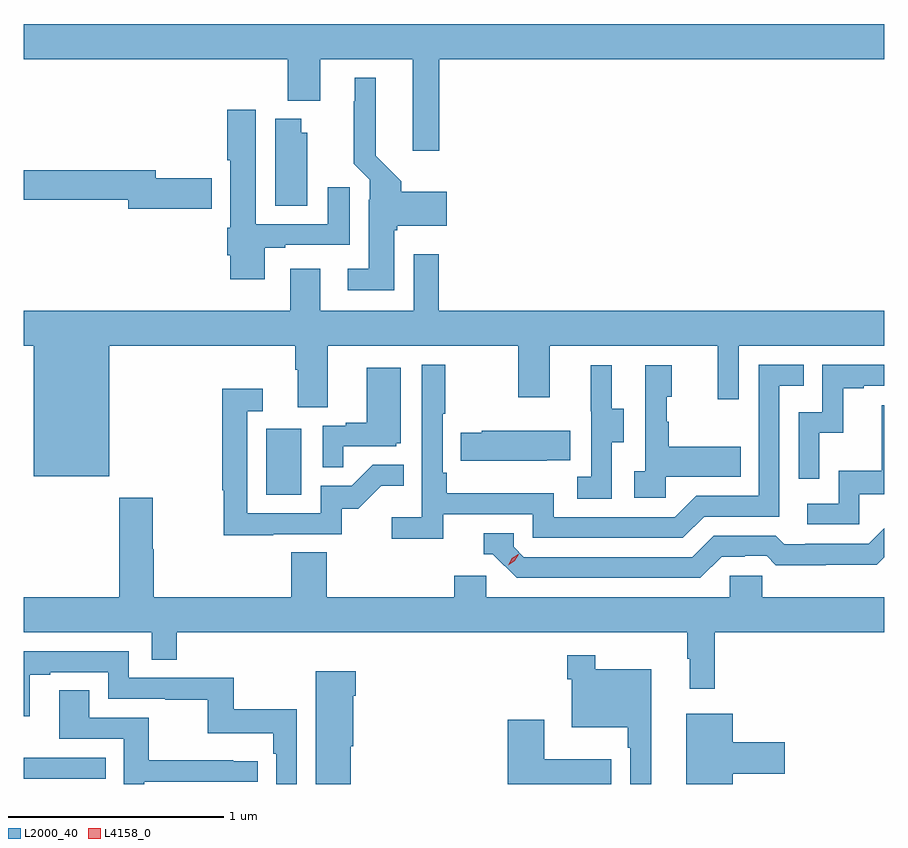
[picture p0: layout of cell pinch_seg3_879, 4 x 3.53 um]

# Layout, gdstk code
import gdstk
lib = gdstk.Library(unit=1e-6, precision=1e-09)
def R(c, l, rs):  # rectangles x0, y0, x1, y1
    for r in rs: c.add(gdstk.rectangle(r[:2], r[2:], *l))
def P(c, l, *ps):  # polygons
    for p in ps: c.add(gdstk.Polygon(p, *l))
L2000_40 = (2000, 40)
L4158_0 = (4158, 0)

pinch_seg3_879 = lib.new_cell('pinch_seg3_879')
R(pinch_seg3_879, L2000_40, [(884.805,700.236,885.185,700.332), (885.932,701.556,886.096,701.863)])
P(pinch_seg3_879, L2000_40, [(886.736,703.58),(888.805,703.58),(888.805,703.744),(884.805,703.744),(884.805,703.58),(886.031,703.58),(886.031,703.388),(886.183,703.388),(886.183,703.58),(886.613,703.58),(886.613,703.155),(886.736,703.155)],
  [(886.528,702.786),(886.542,702.786),(886.542,702.806),(886.771,702.806),(886.771,702.964),(886.559,702.964),(886.559,703.014),(886.441,703.132),(886.441,703.495),(886.343,703.495),(886.343,703.385),(886.339,703.385),(886.339,703.094),(886.413,703.02),(886.413,702.926),(886.409,702.926),(886.409,702.607),(886.311,702.607),(886.311,702.506),(886.528,702.506)],
  [(885.925,702.705),(886.021,702.705),(886.021,702.717),(886.321,702.717),(886.321,702.985),(886.217,702.985),(886.217,702.813),(885.883,702.813),(885.883,703.345),(885.752,703.345),(885.752,703.111),(885.764,703.111),(885.764,702.797),(885.752,702.797),(885.752,702.67),(885.764,702.67),(885.764,702.558),(885.925,702.558)],
  [(886.123,703.239),(886.096,703.239),(886.096,703.303),(885.974,703.303),(885.974,702.898),(886.123,702.898)],
  [(885.679,703.028),(885.418,703.028),(885.418,703.064),(884.805,703.064),(884.805,702.928),(885.29,702.928),(885.29,702.886),(885.679,702.886)],
  [(885.202,702.248),(886.067,702.248),(886.067,702.136),(886.079,702.136),(886.079,701.962),(886.219,701.962),(886.219,702.248),(887.104,702.248),(887.104,702.009),(887.251,702.009),(887.251,702.248),(888.032,702.248),(888.032,702),(888.129,702),(888.129,702.248),(888.805,702.248),(888.805,702.412),(886.733,702.412),(886.733,702.673),(886.617,702.673),(886.617,702.412),(886.183,702.412),(886.183,702.607),(886.043,702.607),(886.043,702.412),(884.805,702.412),(884.805,702.248),(884.852,702.248),(884.852,701.642),(885.202,701.642)],
  [(886.754,701.466),(887.172,701.466),(887.172,701.355),(887.869,701.355),(887.968,701.454),(888.318,701.454),(888.318,702.063),(888.431,702.063),(888.431,702.159),(888.222,702.159),(888.222,701.55),(887.931,701.55),(887.832,701.451),(887.268,701.451),(887.268,701.563),(886.772,701.563),(886.772,701.659),(886.752,701.659),(886.752,701.932),(886.765,701.932),(886.765,702.16),(886.656,702.16),(886.656,701.452),(886.515,701.452),(886.515,701.35),(886.754,701.35)],
  [(888.504,701.843),(888.614,701.843),(888.614,702.051),(888.709,702.051),(888.709,702.063),(888.805,702.063),(888.805,702.159),(888.516,702.159),(888.516,701.94),(888.408,701.94),(888.408,701.631),(888.504,701.631)],
  [(887.538,701.8),(887.593,701.8),(887.593,701.955),(887.539,701.955),(887.539,702.157),(887.441,702.157),(887.441,701.943),(887.442,701.943),(887.442,701.639),(887.379,701.639),(887.379,701.536),(887.538,701.536)],
  [(887.79,701.639),(888.137,701.639),(888.137,701.779),(887.803,701.779),(887.803,701.894),(887.793,701.894),(887.793,702.012),(887.818,702.012),(887.818,702.157),(887.694,702.157),(887.694,701.666),(887.643,701.666),(887.643,701.541),(887.79,701.541)],
  [(886.289,701.781),(886.536,701.781),(886.536,701.796),(886.558,701.796),(886.558,702.145),(886.4,702.145),(886.4,701.89),(886.301,701.89),(886.301,701.877),(886.194,701.877),(886.194,701.683),(886.289,701.683)],
  [(885.965,701.373),(886.284,701.373),(886.284,701.49),(886.36,701.49),(886.467,701.597),(886.571,701.597),(886.571,701.696),(886.427,701.696),(886.329,701.598),(886.185,701.598),(886.185,701.469),(885.843,701.469),(885.843,701.943),(885.916,701.943),(885.916,702.049),(885.727,702.049),(885.727,701.576),(885.735,701.576),(885.735,701.368),(885.965,701.368)],
  [(888.69,701.559),(888.805,701.559),(888.805,701.971),(888.793,701.971),(888.793,701.668),(888.594,701.668),(888.594,701.514),(888.447,701.514),(888.447,701.418),(888.69,701.418)],
  [(887.237,701.717),(887.345,701.717),(887.345,701.854),(886.935,701.854),(886.935,701.844),(886.837,701.844),(886.837,701.714),(887.237,701.714)],
  [(888.017,700.916),(888.805,700.916),(888.805,701.08),(888.237,701.08),(888.237,701.178),(888.087,701.178),(888.087,701.08),(886.956,701.08),(886.956,701.178),(886.805,701.178),(886.805,701.08),(886.214,701.08),(886.214,701.288),(886.049,701.288),(886.049,701.08),(885.41,701.08),(885.41,701.303),(885.405,701.303),(885.405,701.542),(885.25,701.542),(885.25,701.08),(884.805,701.08),(884.805,700.916),(885.399,700.916),(885.399,700.789),(885.515,700.789),(885.515,700.916),(887.889,700.916),(887.889,700.793),(887.9,700.793),(887.9,700.653),(888.017,700.653)],
  [(888.049,701.268),(888.156,701.268),(888.156,701.271),(888.259,701.271),(888.301,701.229),(888.534,701.229),(888.534,701.231),(888.77,701.231),(888.805,701.266),(888.805,701.401),(888.732,701.328),(888.439,701.328),(888.439,701.325),(888.34,701.325),(888.301,701.364),(888.012,701.364),(887.913,701.265),(887.13,701.265),(887.082,701.313),(887.082,701.376),(886.943,701.376),(886.943,701.28),(886.986,701.28),(887.097,701.169),(887.95,701.169)],
  [(886.074,700.558),(885.781,700.558),(885.781,700.704),(885.294,700.704),(885.294,700.827),(884.805,700.827),(884.805,700.526),(884.833,700.526),(884.833,700.719),(884.929,700.719),(884.929,700.731),(885.198,700.731),(885.198,700.608),(885.463,700.608),(885.463,700.603),(885.66,700.603),(885.66,700.448),(885.965,700.448),(885.965,700.352),(885.978,700.352),(885.978,700.211),(886.074,700.211)],
  [(887.722,700.744),(887.461,700.744),(887.461,700.81),(887.332,700.81),(887.332,700.697),(887.352,700.697),(887.352,700.475),(887.613,700.475),(887.613,700.379),(887.625,700.379),(887.625,700.211),(887.722,700.211)],
  [(886.324,700.386),(886.336,700.386),(886.336,700.622),(886.349,700.622),(886.349,700.735),(886.163,700.735),(886.163,700.211),(886.324,700.211)],
  [(885.366,700.221),(885.892,700.221),(885.892,700.317),(885.779,700.317),(885.779,700.322),(885.386,700.322),(885.386,700.518),(885.109,700.518),(885.109,700.646),(884.969,700.646),(884.969,700.422),(885.27,700.422),(885.27,700.211),(885.366,700.211)],
  [(888.1,700.259),(888.343,700.259),(888.343,700.406),(888.1,700.406),(888.1,700.537),(887.885,700.537),(887.885,700.211),(888.1,700.211)],
  [(887.536,700.327),(887.224,700.327),(887.224,700.51),(887.054,700.51),(887.054,700.211),(887.536,700.211)])
P(pinch_seg3_879, L4158_0, [(887.057,701.228),(887.057,701.228),(887.074,701.261),(887.104,701.28),(887.105,701.28),(887.105,701.28),(887.088,701.248),(887.058,701.228)])

lib.write_gds('pinch_seg3_879.gds')
